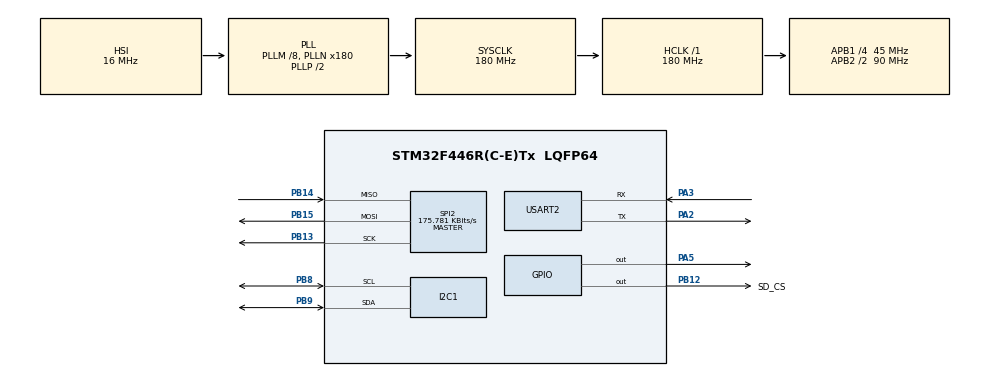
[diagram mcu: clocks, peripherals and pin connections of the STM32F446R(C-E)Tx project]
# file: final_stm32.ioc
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FREERTOS.Tasks01=defaultTask,24,128,StartDefaultTask,Default,NULL,Dynamic,NULL,NULL
FREERTOS.configUSE_NEWLIB_REENTRANT=1
Mcu.Family=STM32F4
Mcu.Name=STM32F446R(C-E)Tx
Mcu.Package=LQFP64
NVIC.PriorityGroup=NVIC_PRIORITYGROUP_4
NVIC.TIM6_DAC_IRQn=true\:15\:0\:false\:false\:true\:false\:false\:true\:true
NVIC.TimeBase=TIM6_DAC_IRQn
NVIC.TimeBaseIP=TIM6
NVIC.USART2_IRQn=true\:5\:0\:false\:false\:true\:true\:true\:true\:true
PA2.Mode=Asynchronous
PA2.Signal=USART2_TX
PA3.Mode=Asynchronous
PA3.Signal=USART2_RX
PA5.Signal=GPIO_Output
PB12.GPIO_Label=SD_CS
PB12.PinState=GPIO_PIN_SET
PB12.Signal=GPIO_Output
PB13.Mode=Full_Duplex_Master
PB13.Signal=SPI2_SCK
PB14.Mode=Full_Duplex_Master
PB14.Signal=SPI2_MISO
PB15.Mode=Full_Duplex_Master
PB15.Signal=SPI2_MOSI
PB8.Mode=I2C
PB8.Signal=I2C1_SCL
PB9.Mode=I2C
PB9.Signal=I2C1_SDA
ProjectManager.HeapSize=0x200
ProjectManager.StackSize=0x400
ProjectManager.TargetToolchain=STM32CubeIDE
RCC.AHBFreq_Value=180000000
RCC.APB1CLKDivider=RCC_HCLK_DIV4
RCC.APB1Freq_Value=45000000
RCC.APB1TimFreq_Value=90000000
RCC.APB2CLKDivider=RCC_HCLK_DIV2
RCC.APB2Freq_Value=90000000
RCC.APB2TimFreq_Value=180000000
RCC.CortexFreq_Value=180000000
RCC.HCLKFreq_Value=180000000
RCC.PLLM=8
RCC.PLLN=180
RCC.SYSCLKFreq_VALUE=180000000
RCC.SYSCLKSource=RCC_SYSCLKSOURCE_PLLCLK
RCC.USBFreq_Value=180000000
RCC.VCOOutputFreq_Value=360000000
SPI2.BaudRatePrescaler=SPI_BAUDRATEPRESCALER_256
SPI2.CalculateBaudRate=175.781 KBits/s
SPI2.Direction=SPI_DIRECTION_2LINES
SPI2.Mode=SPI_MODE_MASTER
SPI2.VirtualType=VM_MASTER
USART2.VirtualMode=VM_ASYNC
VP_FATFS_VS_Generic.Mode=User_defined
VP_FREERTOS_VS_CMSIS_V2.Mode=CMSIS_V2
VP_SYS_VS_tim6.Mode=TIM6
board=custom

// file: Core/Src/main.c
/* USER CODE BEGIN Header */
/**
  ******************************************************************************
  * @file           : main.c
  * @brief          : Main program body
  ******************************************************************************
  * @attention
  *
  * Copyright (c) 2026 STMicroelectronics.
  * All rights reserved.
  *
  * This software is licensed under terms that can be found in the LICENSE file
  * in the root directory of this software component.
  * If no LICENSE file comes with this software, it is provided AS-IS.
  *
  ******************************************************************************
  */
/* USER CODE END Header */
#include "main.h"
#include "cmsis_os.h"
#include "fatfs.h"

/* USER CODE BEGIN Includes */
#include <string.h>
#include <stdio.h>
#include <stdlib.h>

#include "FreeRTOS.h"
#include "task.h"
#include "queue.h"
#include "semphr.h"

#include "bme280_app.h"
/* USER CODE END Includes */

I2C_HandleTypeDef hi2c1;
SPI_HandleTypeDef hspi2;
UART_HandleTypeDef huart2;

/* Definitions for defaultTask */
osThreadId_t defaultTaskHandle;
const osThreadAttr_t defaultTask_attributes = {.name = "defaultTask",.stack_size = 128 * 4,.priority = (osPriority_t) osPriorityNormal,};
/* USER CODE BEGIN PV */
volatile int8_t bmeInitStatus = BME280_E_COMM_FAIL;

typedef struct
{
    uint32_t sampleNumber;
    uint32_t timestampMs;
    float temperatureC;
    float pressureHpa;
    float humidityPercent;
} SensorLogData_t;

QueueHandle_t sensorLogQueue = NULL;

#define COMMAND_BUFFER_SIZE 64

typedef struct
{
    uint32_t sampleRateMs;
    uint8_t loggingEnabled;
} SystemConfig_t;

SystemConfig_t systemConfig =
{
    .sampleRateMs = 1000,
    .loggingEnabled = 0
}; //shared resource protected by mutex

uint8_t uartRxByte;

char uartRxBuffer[COMMAND_BUFFER_SIZE];
char commandBuffer[COMMAND_BUFFER_SIZE];

volatile uint8_t commandReady = 0;
volatile uint32_t uartRxIndex = 0;
volatile uint8_t uartRxOverflow = 0;
volatile uint8_t uartTypingActive = 0;

TaskHandle_t commandTaskHandle=NULL;
TaskHandle_t sensorTaskHandle = NULL;
TaskHandle_t sdTaskHandle = NULL;

SemaphoreHandle_t uartMutex = NULL;
SemaphoreHandle_t configMutex = NULL;
/* USER CODE END PV */

void SystemClock_Config(void);
static void MX_GPIO_Init(void);
static void MX_I2C1_Init(void);
static void MX_SPI2_Init(void);
static void MX_USART2_UART_Init(void);
void StartDefaultTask(void *argument);

/* USER CODE BEGIN PFP */
void CommandTask(void *argument);
void SensorTask(void *argument);
void SDTask(void *argument);
void UART_Send(const char *message);
void Config_Get(SystemConfig_t *config);
void Config_SetLogging(uint8_t enabled);
void Config_SetRate(uint32_t rate);

/* USER CODE END PFP */

int main(void)
{

  /* MCU Configuration--------------------------------------------------------*/

  /* Reset of all peripherals, Initializes the Flash interface and the Systick. */
  HAL_Init();

  /* Configure the system clock */
  SystemClock_Config();

  /* Initialize all configured peripherals */
  MX_GPIO_Init();
  MX_I2C1_Init();
  MX_SPI2_Init();
  MX_USART2_UART_Init();
  MX_FATFS_Init();
  /* USER CODE BEGIN 2 */
  char bmeMessage[60];

  bmeInitStatus = BME280_App_Init();

  snprintf(bmeMessage,sizeof(bmeMessage),"BME280 init result: %d\r\n",bmeInitStatus);
  HAL_UART_Transmit(&huart2,(uint8_t *)bmeMessage,strlen(bmeMessage),1000);

  HAL_UART_Receive_IT(&huart2, &uartRxByte, 1);

  /* Create queue, mutexes and tasks */

  /* USER CODE END 2 */

  /* Init scheduler */
  osKernelInitialize();

  /* USER CODE BEGIN RTOS_MUTEX */
  /* add mutexes, ... */
  uartMutex = xSemaphoreCreateMutex();
  configMutex = xSemaphoreCreateMutex();

  if ((uartMutex == NULL) || (configMutex == NULL))
  {
      Error_Handler();
  }
  /* USER CODE END RTOS_MUTEX */

  /* USER CODE BEGIN RTOS_QUEUES */
  /* add queues, ... */
  sensorLogQueue = xQueueCreate(16, sizeof(SensorLogData_t));

  if (sensorLogQueue == NULL)
  {
      Error_Handler();
  }
  /* USER CODE END RTOS_QUEUES */

  /* Create the thread(s) */
  /* creation of defaultTask */
  defaultTaskHandle = osThreadNew(StartDefaultTask, NULL, &defaultTask_attributes);

  /* USER CODE BEGIN RTOS_THREADS */
  xTaskCreate(CommandTask,"CommandTask",512,NULL,2,&commandTaskHandle);
  xTaskCreate(SensorTask, "SensorTask", 512, NULL, 1, &sensorTaskHandle);
  xTaskCreate(SDTask, "SDTask", 768, NULL, 1, &sdTaskHandle);
  /* USER CODE END RTOS_THREADS */

  /* Start scheduler */
  osKernelStart();

  /* We should never get here as control is now taken by the scheduler */

  /* Infinite loop */
  while (1)
  {

  }
}

void SystemClock_Config(void)
{
  RCC_OscInitTypeDef RCC_OscInitStruct = {0};
  RCC_ClkInitTypeDef RCC_ClkInitStruct = {0};

  /** Configure the main internal regulator output voltage
  */
  __HAL_RCC_PWR_CLK_ENABLE();
  __HAL_PWR_VOLTAGESCALING_CONFIG(PWR_REGULATOR_VOLTAGE_SCALE1);

  /** Initializes the RCC Oscillators according to the specified parameters
  * in the RCC_OscInitTypeDef structure.
  */
  RCC_OscInitStruct.OscillatorType = RCC_OSCILLATORTYPE_HSI;
  RCC_OscInitStruct.HSIState = RCC_HSI_ON;
  RCC_OscInitStruct.HSICalibrationValue = RCC_HSICALIBRATION_DEFAULT;
  RCC_OscInitStruct.PLL.PLLState = RCC_PLL_ON;
  RCC_OscInitStruct.PLL.PLLSource = RCC_PLLSOURCE_HSI;
  RCC_OscInitStruct.PLL.PLLM = 8;
  RCC_OscInitStruct.PLL.PLLN = 180;
  RCC_OscInitStruct.PLL.PLLP = RCC_PLLP_DIV2;
  RCC_OscInitStruct.PLL.PLLQ = 2;
  RCC_OscInitStruct.PLL.PLLR = 2;
  if (HAL_RCC_OscConfig(&RCC_OscInitStruct) != HAL_OK)
  {
    Error_Handler();
  }

  /** Activate the Over-Drive mode
  */
  if (HAL_PWREx_EnableOverDrive() != HAL_OK)
  {
    Error_Handler();
  }

  /** Initializes the CPU, AHB and APB buses clocks
  */
  RCC_ClkInitStruct.ClockType = RCC_CLOCKTYPE_HCLK|RCC_CLOCKTYPE_SYSCLK
                              |RCC_CLOCKTYPE_PCLK1|RCC_CLOCKTYPE_PCLK2;
  RCC_ClkInitStruct.SYSCLKSource = RCC_SYSCLKSOURCE_PLLCLK;
  RCC_ClkInitStruct.AHBCLKDivider = RCC_SYSCLK_DIV1;
  RCC_ClkInitStruct.APB1CLKDivider = RCC_HCLK_DIV4;
  RCC_ClkInitStruct.APB2CLKDivider = RCC_HCLK_DIV2;

  if (HAL_RCC_ClockConfig(&RCC_ClkInitStruct, FLASH_LATENCY_5) != HAL_OK)
  {
    Error_Handler();
  }
}

static void MX_I2C1_Init(void)
{

  hi2c1.Instance = I2C1;
  hi2c1.Init.ClockSpeed = 100000;
  hi2c1.Init.DutyCycle = I2C_DUTYCYCLE_2;
  hi2c1.Init.OwnAddress1 = 0;
  hi2c1.Init.AddressingMode = I2C_ADDRESSINGMODE_7BIT;
  hi2c1.Init.DualAddressMode = I2C_DUALADDRESS_DISABLE;
  hi2c1.Init.OwnAddress2 = 0;
  hi2c1.Init.GeneralCallMode = I2C_GENERALCALL_DISABLE;
  hi2c1.Init.NoStretchMode = I2C_NOSTRETCH_DISABLE;
  if (HAL_I2C_Init(&hi2c1) != HAL_OK)
  {
    Error_Handler();
  }

}

static void MX_SPI2_Init(void)
{

  /* SPI2 parameter configuration*/
  hspi2.Instance = SPI2;
  hspi2.Init.Mode = SPI_MODE_MASTER;
  hspi2.Init.Direction = SPI_DIRECTION_2LINES;
  hspi2.Init.DataSize = SPI_DATASIZE_8BIT;
  hspi2.Init.CLKPolarity = SPI_POLARITY_LOW;
  hspi2.Init.CLKPhase = SPI_PHASE_1EDGE;
  hspi2.Init.NSS = SPI_NSS_SOFT;
  hspi2.Init.BaudRatePrescaler = SPI_BAUDRATEPRESCALER_256;
  hspi2.Init.FirstBit = SPI_FIRSTBIT_MSB;
  hspi2.Init.TIMode = SPI_TIMODE_DISABLE;
  hspi2.Init.CRCCalculation = SPI_CRCCALCULATION_DISABLE;
  hspi2.Init.CRCPolynomial = 10;
  if (HAL_SPI_Init(&hspi2) != HAL_OK)
  {
    Error_Handler();
  }

}

static void MX_USART2_UART_Init(void)
{

  huart2.Instance = USART2;
  huart2.Init.BaudRate = 115200;
  huart2.Init.WordLength = UART_WORDLENGTH_8B;
  huart2.Init.StopBits = UART_STOPBITS_1;
  huart2.Init.Parity = UART_PARITY_NONE;
  huart2.Init.Mode = UART_MODE_TX_RX;
  huart2.Init.HwFlowCtl = UART_HWCONTROL_NONE;
  huart2.Init.OverSampling = UART_OVERSAMPLING_16;
  if (HAL_UART_Init(&huart2) != HAL_OK)
  {
    Error_Handler();
  }

}

static void MX_GPIO_Init(void)
{
  GPIO_InitTypeDef GPIO_InitStruct = {0};

  /* GPIO Ports Clock Enable */
  __HAL_RCC_GPIOA_CLK_ENABLE();
  __HAL_RCC_GPIOB_CLK_ENABLE();

  /*Configure GPIO pin Output Level */
  HAL_GPIO_WritePin(GPIOA, GPIO_PIN_5, GPIO_PIN_RESET);

  /*Configure GPIO pin Output Level */
  HAL_GPIO_WritePin(SD_CS_GPIO_Port, SD_CS_Pin, GPIO_PIN_SET);

  /*Configure GPIO pin : PA5 */
  GPIO_InitStruct.Pin = GPIO_PIN_5;
  GPIO_InitStruct.Mode = GPIO_MODE_OUTPUT_PP;
  GPIO_InitStruct.Pull = GPIO_NOPULL;
  GPIO_InitStruct.Speed = GPIO_SPEED_FREQ_LOW;
  HAL_GPIO_Init(GPIOA, &GPIO_InitStruct);

  /*Configure GPIO pin : SD_CS_Pin */
  GPIO_InitStruct.Pin = SD_CS_Pin;
  GPIO_InitStruct.Mode = GPIO_MODE_OUTPUT_PP;
  GPIO_InitStruct.Pull = GPIO_PULLUP;
  GPIO_InitStruct.Speed = GPIO_SPEED_FREQ_HIGH;
  HAL_GPIO_Init(SD_CS_GPIO_Port, &GPIO_InitStruct);

}

/* USER CODE BEGIN 4 */
void UART_Send(const char *message)
{
    if ((message == NULL) || (uartMutex == NULL))
    {
        return;
    }

    if (xSemaphoreTake(uartMutex, pdMS_TO_TICKS(1000)) == pdTRUE)
    {
        HAL_UART_Transmit(&huart2,(uint8_t *)message,strlen(message),1000);
        xSemaphoreGive(uartMutex);
    }
}

void Config_Get(SystemConfig_t *config)
{
    if ((config == NULL) || (configMutex == NULL))
    {
        return;
    }

    if (xSemaphoreTake(configMutex, portMAX_DELAY) == pdTRUE)
    {
        *config = systemConfig;
        xSemaphoreGive(configMutex);
    }
}

void Config_SetLogging(uint8_t enabled)
{
    if (configMutex == NULL)
    {
        return;
    }

    if (xSemaphoreTake(configMutex, portMAX_DELAY) == pdTRUE)
    {
        systemConfig.loggingEnabled = enabled;
        xSemaphoreGive(configMutex);
    }
}

void Config_SetRate(uint32_t rate)
{
    if (configMutex == NULL)
    {
        return;
    }

    if (xSemaphoreTake(configMutex, portMAX_DELAY) == pdTRUE)
    {
        systemConfig.sampleRateMs = rate;
        xSemaphoreGive(configMutex);
    }
}

void HAL_UART_RxCpltCallback(UART_HandleTypeDef *huart)
{
	uartTypingActive=1;
	BaseType_t higherPriorityTaskWoken = pdFALSE;
    if (huart->Instance == USART2)
    {
        if((uartRxByte=='\r') || (uartRxByte=='\n')) {
        	if( (uartRxIndex>0) && (uartRxOverflow==0))  {
        		uartRxBuffer[uartRxIndex]='\0';
        		strcpy(commandBuffer,uartRxBuffer);

        		if(commandTaskHandle!=NULL)	{
        			vTaskNotifyGiveFromISR(commandTaskHandle, &higherPriorityTaskWoken);
        		}
        	}
        	uartRxIndex=0;
			uartRxOverflow = 0;
        } else {
        	if(uartRxIndex < (COMMAND_BUFFER_SIZE-1)) {
        		uartRxBuffer[uartRxIndex]=(char)uartRxByte;
        		uartRxIndex++;
        	} else {
        		 /* Buffer is full; ignore characters until Enter */
        		 uartRxOverflow = 1;
        	}
        }

        HAL_UART_Receive_IT(&huart2, &uartRxByte, 1);
        portYIELD_FROM_ISR(higherPriorityTaskWoken);
    }
}

void CommandTask(void *argument)
{
	char response[120];
    (void)argument;
    snprintf(response, sizeof(response), "\r\nAvailable commands:\r\nSTART\r\nSTOP\r\nRATE <milliseconds>\r\nMinimum rate: 100 ms\r\n\r\n");
    UART_Send(response);
    while (1)
    {
        ulTaskNotifyTake(pdTRUE, portMAX_DELAY);

        if (strcmp(commandBuffer, "START") == 0)
        {
        	Config_SetLogging(1U);
            snprintf(response, sizeof(response),"Logging started\r\n");
        }
        else if (strcmp(commandBuffer, "STOP") == 0)
        {
        	Config_SetLogging(0U);
            snprintf(response, sizeof(response),"Logging stopped\r\n");
        }
        else if (strncmp(commandBuffer, "RATE ", 5) == 0)
        {
        	uint8_t validNumber = 1; //DEFAULT:VALID
        	for (uint32_t i = 5; commandBuffer[i] != '\0'; i++)
        	    {
        	        if ((commandBuffer[i] < '0') ||(commandBuffer[i] > '9')) {
        	            validNumber = 0; //INVALID
        	            break;
        	        }
        	    }
			if ((validNumber == 1) && (commandBuffer[5] != '\0')) {
				   uint32_t newRate =(uint32_t)atoi(&commandBuffer[5]);

			   if (newRate >= 100) {
				   Config_SetRate(newRate);
				   snprintf(response, sizeof(response),"Sample rate set to %lu ms\r\n",(unsigned long)newRate);
			   }
			   else
			   {
				   snprintf(response, sizeof(response),"Invalid rate: minimum is 100 ms\r\n");
			   }
		    }
			else
			{
			    snprintf(response, sizeof(response),"Invalid RATE command\r\nExample: RATE 1000\r\n");
			}
        }
        else
        {
            snprintf(response, sizeof(response), "Invalid command\r\nUse: START, STOP, or RATE <milliseconds>\r\n");
        }
        UART_Send(response);
        uartTypingActive = 0; //NOT ACTIVE
    }
}

void SensorTask(void *argument)
{
    (void)argument;

    struct bme280_data sensorData;
    SensorLogData_t logData;
    SystemConfig_t localConfig;

    char output[160];
    int8_t result;

    uint32_t sampleCounter = 0U;

    while (1)
    {
    	Config_Get(&localConfig);

        if ((localConfig.loggingEnabled == 1U) &&(uartTypingActive == 0U) && (bmeInitStatus == BME280_OK))
        {
            result = BME280_App_Read(&sensorData);

            if (result == BME280_OK)
            {
                sampleCounter++;

                logData.sampleNumber = sampleCounter;
                logData.timestampMs = HAL_GetTick();
                logData.temperatureC =(float)sensorData.temperature;
                logData.pressureHpa =(float)(sensorData.pressure / 100.0);
                logData.humidityPercent =(float)sensorData.humidity;

                snprintf(output,sizeof(output),"Sample %lu: %.2f C, %.2f hPa, %.2f %%\r\n",(unsigned long)logData.sampleNumber,
                         logData.temperatureC,logData.pressureHpa,logData.humidityPercent);

                UART_Send(output);

                if (sensorLogQueue != NULL)
                {
                    xQueueSend(sensorLogQueue,&logData,pdMS_TO_TICKS(100));
                }

                HAL_GPIO_TogglePin(GPIOA, GPIO_PIN_5);
            }
            else
            {
                snprintf(output,sizeof(output),"BME280 read failed: %d\r\n",result);
                UART_Send(output);
            }
        }

        vTaskDelay(pdMS_TO_TICKS(localConfig.sampleRateMs));
    }
}

void SDTask(void *argument)
{
    (void)argument;

    FRESULT result;
    FIL file;
    UINT bytesWritten;

    SensorLogData_t logData;

    char csvLine[160];
    char message[100];

    const char csvHeader[] ="sample,uptime_ms,temperature_c,pressure_hpa,humidity_percent\r\n";

    vTaskDelay(pdMS_TO_TICKS(500));

    result = f_mount(&USERFatFS, USERPath, 1);

    if (result != FR_OK)
    {
        snprintf(message,sizeof(message),"SD mount failed: %d\r\n",result);
        UART_Send(message);

        vTaskDelete(NULL);
    }

    result = f_open(&file,"0:/sensor.csv",FA_OPEN_ALWAYS | FA_WRITE);

    if (result != FR_OK)
    {
        snprintf(message,sizeof(message),"CSV open failed: %d\r\n",result);
        UART_Send(message);

        vTaskDelete(NULL);
    }

    /* Write header only when the file is empty */
    if (f_size(&file) == 0U)
    {
        result = f_write(&file,csvHeader,strlen(csvHeader),&bytesWritten);

        if ((result != FR_OK) ||
            (bytesWritten != strlen(csvHeader)))
        {
            const char errorMessage[] ="CSV header write failed\r\n";

            UART_Send(errorMessage);
        }
    }

    /* Move to end so new samples are appended */
    result = f_lseek(&file, f_size(&file));

    if (result != FR_OK)
    {
        snprintf(message,sizeof(message),"CSV seek failed: %d\r\n",result);

        UART_Send(message);

        f_close(&file);
        vTaskDelete(NULL);
    }

    f_sync(&file);

    const char readyMessage[] = "SD CSV logger ready\r\n";
    UART_Send(readyMessage);

    while (1)
    {
        if (xQueueReceive(sensorLogQueue,&logData,portMAX_DELAY) == pdPASS)
        {
            int lineLength = snprintf(csvLine,sizeof(csvLine),"%lu,%lu,%.2f,%.2f,%.2f\r\n",
                    (unsigned long)logData.sampleNumber,(unsigned long)logData.timestampMs,
                                   logData.temperatureC,logData.pressureHpa,logData.humidityPercent);

            bytesWritten = 0U;

            result = f_write(&file,csvLine,(UINT)lineLength,&bytesWritten);

            if ((result == FR_OK) && (bytesWritten == (UINT)lineLength))
            {
                /* Save every sample safely to the card */
                f_sync(&file);
            }
            else
            {
                snprintf(message, sizeof(message),"SD log write failed: %d\r\n",result);
                UART_Send(message);
            }
        }
    }
}

/* USER CODE END 4 */

void StartDefaultTask(void *argument)
{
  for(;;)
  {
    osDelay(1);
  }
}

void HAL_TIM_PeriodElapsedCallback(TIM_HandleTypeDef *htim)
{
  if (htim->Instance == TIM6)
  {
    HAL_IncTick();
  }
}

void Error_Handler(void)
{
  __disable_irq();
  while (1)
  {
  }
}
